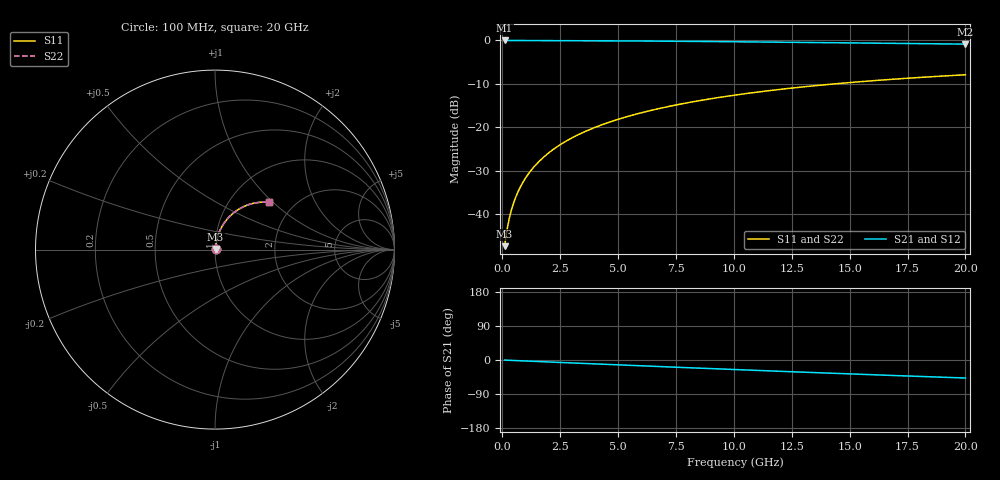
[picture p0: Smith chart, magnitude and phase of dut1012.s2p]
! Touchstone file exported from HFSS 2026.1.0
!  File:  C:/ffzhzh/LocalFiles/Ansys_Project_Files/temp_train_TMRDL_1012_1783159703_18472.aedt
!  Generated:  06:09:34 PM Jul  4, 2026
!  Design:  TMRDL
!  Project:  temp_train_TMRDL_1012_1783159703_18472
! Variables:
!  h_bsmrdl = 2um
!  h_ox = 20um
!  h_rdl = 5um
!  h_sub = 80um
!  h_tmrdl = 3.44um
!  h_tsv = 80um
!  h_via = 3um
!  l_bsmrdl = 300um
!  l_sub = 1116.62um
!  l_tmrdl = 716.62um
!  m_sub = 200um
!  pitch = 50.5um
!  r_tsv = 6um
!  s_tmrdl = 10um
!  w_bsmrdl = 18um
!  w_sub = 500um
!  w_tmrdl = 24.64um
!  x_tsv_center1 = 728.94um
!  x_tsv_center2 = 1046.94um
!  x_tsv_center3 = 1788.2um
!  x_tsv_center4 = 2106.2um
!  x_tsv_center5 = 2847.46um
!  x_tsv_center6 = 3165.46um
# GHz S MA R 50.000000
! Terminal data exported
! Port[1] = TM_RDL1_1_T1
! Port[2] = TM_RDL1_1_T2
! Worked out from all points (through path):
!   200 points, 100 MHz to 20 GHz, reference 50 ohm
!   highest |S21| = -0.03 dB at 100 MHz (marker M1); lowest = -0.9 dB at 20 GHz (marker M2)
!   group delay of S21, straight-line fit = 6.61 ps
!   lowest |S11| = -47.4 dB at 100 MHz (marker M3), VSWR 1.01, Z = 50.3 + j0.281 ohm
!   |S11| at or under -10 dB: start of sweep to 14.4 GHz
!   |S22| runs from -47.4 to -7.9 dB; largest |S21 - S12| = 3.4e-15
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0.1  0.004273 40.8  0.9968 -0.3  0.9968 -0.3  0.004273 40.8
! Gamma 0 0 0 0
! Port Impedance 50 0 50 0
0.2  0.006483 57.8  0.9966 -0.5  0.9966 -0.5  0.006483 57.8
0.3  0.008885 65.3  0.9964 -0.8  0.9964 -0.8  0.008885 65.3
0.4  0.0113 69.4  0.9962 -1.1  0.9962 -1.1  0.0113 69.4
0.5  0.01372 72.1  0.996 -1.3  0.996 -1.3  0.01372 72.1
0.6  0.01613 74.0  0.9959 -1.6  0.9959 -1.6  0.01613 74.0
0.8  0.02099 76.5  0.9957 -2.1  0.9957 -2.1  0.02099 76.5
1.1  0.02834 78.4  0.9954 -2.9  0.9954 -2.9  0.02834 78.4
1.3  0.03327 79.1  0.9952 -3.4  0.9952 -3.4  0.03327 79.1
1.6  0.04068 79.5  0.9948 -4.2  0.9948 -4.2  0.04068 79.5
2.1  0.05303 79.5  0.994 -5.5  0.994 -5.5  0.05303 79.5
2.7  0.06781 78.9  0.9928 -7.0  0.9928 -7.0  0.06781 78.9
3.5  0.08734 77.5  0.9909 -9.0  0.9909 -9.0  0.08734 77.5
4.2  0.1042 76.0  0.9889 -10.8  0.9889 -10.8  0.1042 76.0
5  0.1232 74.3  0.9862 -12.8  0.9862 -12.8  0.1232 74.3
5.9  0.1442 72.2  0.9828 -15.1  0.9828 -15.1  0.1442 72.2
6.8  0.1647 70.1  0.9791 -17.3  0.9791 -17.3  0.1647 70.1
8.3  0.1977 66.6  0.9721 -21.0  0.9721 -21.0  0.1977 66.6
10.1  0.2354 62.5  0.9629 -25.4  0.9629 -25.4  0.2354 62.5
13.4  0.2986 55.0  0.9441 -33.1  0.9441 -33.1  0.2986 55.0
16.7  0.354 47.8  0.9243 -40.5  0.9243 -40.5  0.354 47.8
20  0.4013 40.9  0.9046 -47.6  0.9046 -47.6  0.4013 40.9
